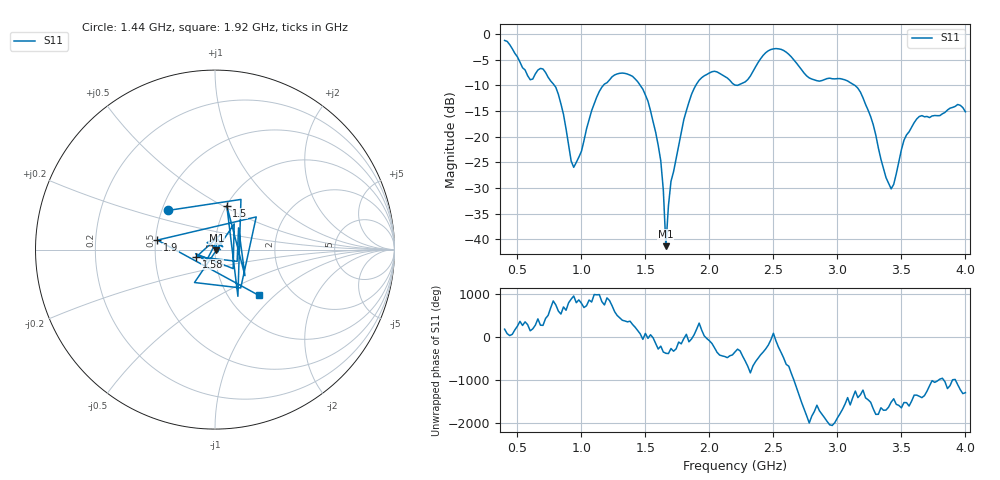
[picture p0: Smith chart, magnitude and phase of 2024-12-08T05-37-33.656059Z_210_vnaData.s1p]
!Created with skrf (http://scikit-rf.org).
# Hz S RI R 50.0
!freq ReS11 ImS11
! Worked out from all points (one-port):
!   181 points, 400 MHz to 4 GHz, reference 50 ohm
!   lowest |S11| = -41.3 dB at 1.66 GHz (marker M1), VSWR 1.02, Z = 50.8 - j0.405 ohm
!   |S11| at or under -10 dB: 788.3 MHz to 1.172 GHz (383.9 MHz wide, 39.2 % of centre); 1.459 GHz to 1.894 GHz (435.6 MHz wide, 26 % of centre); 3.135 GHz to end of sweep (the widest 3 of 4)
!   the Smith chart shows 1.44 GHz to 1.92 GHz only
!   S11 on the Smith chart (normalised r, x): 1.44 GHz: 0.54, +0.26; 1.5 GHz: 1.00, +0.53; 1.58 GHz: 0.81, -0.06; 1.9 GHz: 0.51, +0.06; 1.92 GHz: 1.38, -0.80
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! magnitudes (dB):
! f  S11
! 400 MHz  -1.3
! 600 MHz  -8.9
! 700 MHz  -6.8
! 860 MHz  -15.7
! 940 MHz  -26.0
! 1.14 GHz  -11.2
! 1.3 GHz  -7.7
! 1.44 GHz  -9.3
! 1.5 GHz  -11.9
! 1.58 GHz  -19.1
! 1.62 GHz  -24.7
! 1.64 GHz  -30.4
! 1.66 GHz  -41.3
! 1.7 GHz  -28.7
! 1.76 GHz  -21.7
! 1.9 GHz  -9.7
! 1.92 GHz  -9.0
! 2.04 GHz  -7.3
! 2.2 GHz  -10.0
! 2.48 GHz  -3.0
! 2.66 GHz  -5.1
! 2.8 GHz  -8.8
! 3.1 GHz  -9.5
! 3.26 GHz  -16.1
! 3.42 GHz  -30.2
! 3.56 GHz  -19.1
! 3.64 GHz  -16.1
! 4 GHz  -15.2
